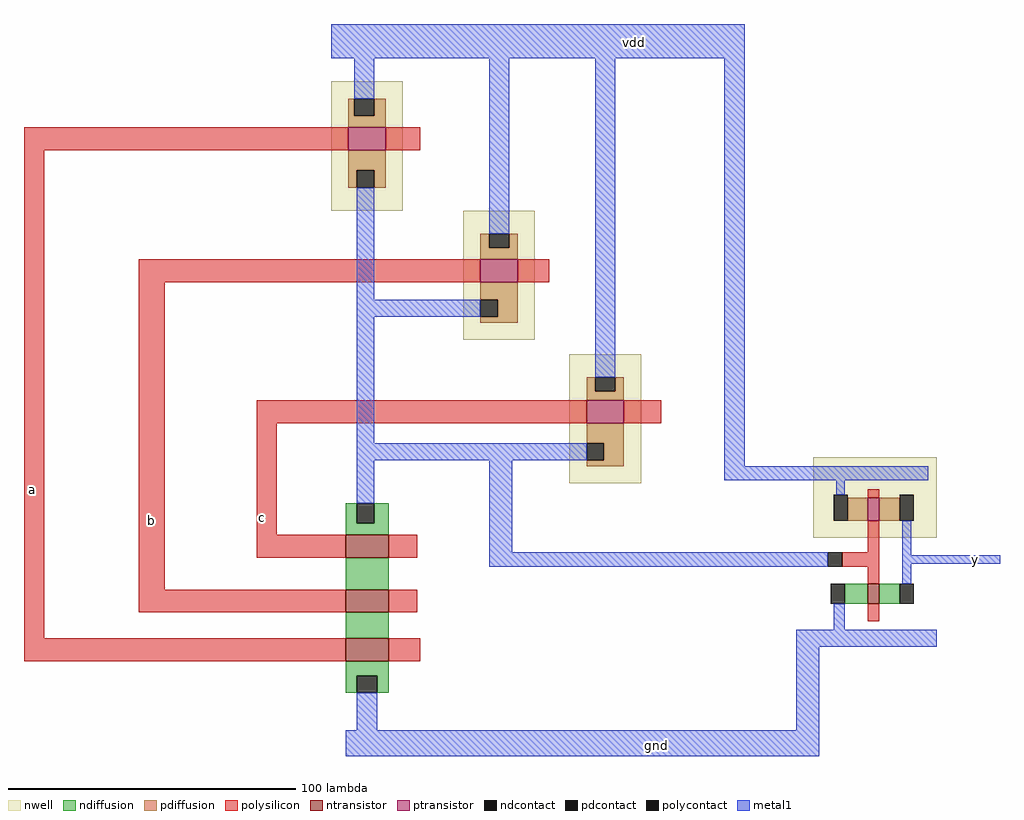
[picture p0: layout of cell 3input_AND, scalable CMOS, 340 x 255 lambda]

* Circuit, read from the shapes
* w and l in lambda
.subckt 3input_AND a b c gnd vdd y
M1 n1 a gnd VSUBS nfet w=15 l=8
M2 n2 b n1 VSUBS nfet w=15 l=8
M3 not_0/in c n2 VSUBS nfet w=15 l=8
M4 y not_0/in gnd VSUBS nfet w=7 l=4
M5 vdd a not_0/in n3 pfet w=13 l=8
M6 vdd b not_0/in n4 pfet w=13 l=8
M7 vdd c not_0/in n5 pfet w=13 l=8
M8 y not_0/in vdd n6 pfet w=8 l=4
.ends

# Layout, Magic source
magic
tech scmos
<< nwell >>
rect -14 24 11 69
rect 32 -21 57 24
rect 69 -71 94 -26
<< ntransistor >>
rect -9 -97 6 -89
rect -9 -116 6 -108
rect -9 -133 6 -125
<< ptransistor >>
rect -8 45 5 53
rect 38 -1 51 7
rect 75 -50 88 -42
<< ndiffusion >>
rect -9 -85 -5 -78
rect 1 -85 6 -78
rect -9 -89 6 -85
rect -9 -108 6 -97
rect -9 -125 6 -116
rect -9 -138 6 -133
rect -9 -144 -5 -138
rect 2 -144 6 -138
<< pdiffusion >>
rect -8 57 -6 63
rect 1 57 5 63
rect -8 53 5 57
rect -8 38 5 45
rect -8 32 -5 38
rect 1 32 5 38
rect 38 11 41 16
rect 48 11 51 16
rect 38 7 51 11
rect 38 -7 51 -1
rect 44 -13 51 -7
rect 38 -15 51 -13
rect 75 -39 78 -34
rect 85 -39 88 -34
rect 75 -42 88 -39
rect 75 -57 88 -50
rect 81 -63 88 -57
rect 75 -65 88 -63
<< ndcontact >>
rect -5 -85 1 -78
rect -5 -144 2 -138
<< pdcontact >>
rect -6 57 1 63
rect -5 32 1 38
rect 41 11 48 16
rect 38 -13 44 -7
rect 78 -39 85 -34
rect 75 -63 81 -57
<< polysilicon >>
rect -121 45 -8 53
rect 5 45 17 53
rect -121 -125 -114 45
rect -81 -1 38 7
rect 51 -1 62 7
rect -81 -108 -72 -1
rect -40 -50 75 -42
rect 88 -50 101 -42
rect -40 -89 -33 -50
rect -40 -97 -9 -89
rect 6 -97 16 -89
rect -81 -116 -9 -108
rect 6 -116 16 -108
rect -121 -133 -9 -125
rect 6 -133 17 -125
<< metal1 >>
rect -14 77 130 89
rect -6 63 1 77
rect -5 -7 1 32
rect 41 16 48 77
rect -5 -13 38 -7
rect -5 -57 1 -13
rect 78 -34 85 77
rect -5 -63 75 -57
rect -5 -78 1 -63
rect 41 -95 49 -63
rect 123 -65 130 77
rect 123 -70 156 -65
rect 41 -100 149 -95
rect 193 -99 219 -96
rect -5 -157 2 -144
rect 148 -157 156 -122
rect -9 -166 156 -157
use not  not_0
transform 1 0 156 0 1 -100
box -7 -28 41 38
<< labels >>
rlabel polysilicon -118 -73 -118 -73 3 a
rlabel polysilicon -77 -85 -76 -83 1 b
rlabel polysilicon -38 -83 -38 -83 1 c
rlabel metal1 91 82 92 83 1 vdd
rlabel metal1 99 -163 100 -162 1 gnd
rlabel metal1 210 -98 211 -97 1 y
<< end >>

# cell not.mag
magic
tech scmos
<< nwell >>
rect -2 10 41 38
<< ntransistor >>
rect 17 -13 21 -6
<< ptransistor >>
rect 17 16 21 24
<< ndiffusion >>
rect 9 -13 17 -6
rect 21 -13 28 -6
<< pdiffusion >>
rect 10 16 17 24
rect 21 16 28 24
<< ndcontact >>
rect 4 -13 9 -6
rect 28 -13 33 -6
<< pdcontact >>
rect 5 16 10 25
rect 28 16 33 25
<< polysilicon >>
rect 17 24 21 27
rect 17 5 21 16
rect 8 0 21 5
rect 17 -6 21 0
rect 17 -19 21 -13
<< polycontact >>
rect 3 0 8 5
<< metal1 >>
rect 0 30 38 35
rect 6 25 9 30
rect -7 0 3 5
rect 29 4 32 16
rect 29 1 37 4
rect 29 -6 32 1
rect 5 -22 9 -13
rect -2 -28 41 -22
<< labels >>
rlabel metal1 16 31 21 33 1 vdd
rlabel metal1 29 1 37 4 1 out
rlabel metal1 -6 1 2 4 3 in
rlabel metal1 17 -27 25 -24 1 gnd
<< end >>
